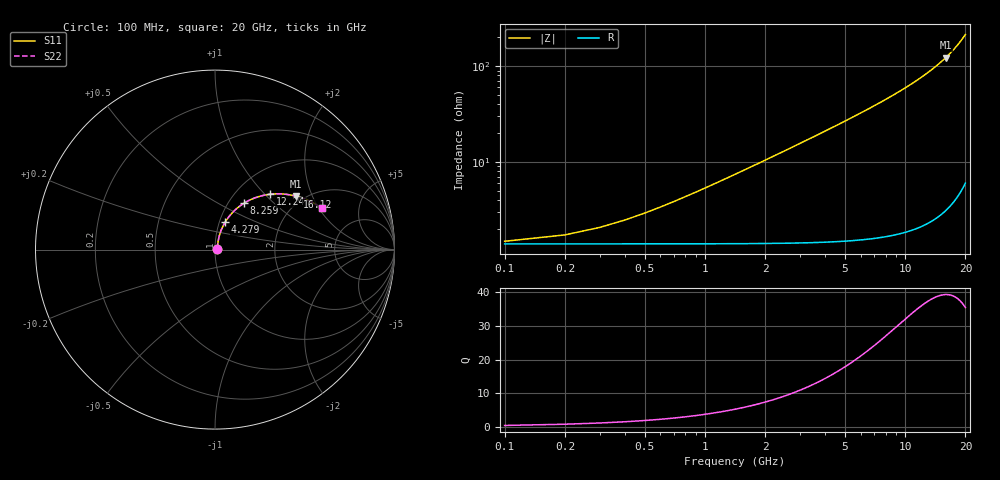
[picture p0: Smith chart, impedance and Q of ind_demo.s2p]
! Created with skrf 1.12.0 (http://scikit-rf.org).
# GHz S RI R 50.0
!freq ReS11 ImS11 ReS21 ImS21 ReS12 ImS12 ReS22 ImS22
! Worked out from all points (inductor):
!   201 points, 100 MHz to 20 GHz, reference 50 ohm
!   read as 1/Y11, port 2 shorted: L = 822 pH near 896 MHz
!   highest Q = 39.4 at 15.92 GHz (marker M1), where L = 1.22 nH
!   S11 on the Smith chart (normalised r, x): 100 MHz: 1.03, +0.01; 4.279 GHz: 1.07, +0.34; 8.259 GHz: 1.18, +0.68; 12.24 GHz: 1.41, +1.08; 16.12 GHz: 1.85, +1.56; 20 GHz: 2.75, +2.13
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0.1  0.0138 0.00375  0.9862 -0.00627  0.9862 -0.00627  0.0138 0.00375
0.1995  0.0139 0.00749  0.9861 -0.0125  0.9861 -0.0125  0.0139 0.00749
0.5975  0.0147 0.0224  0.9852 -0.0374  0.9852 -0.0374  0.0147 0.0224
0.7965  0.0153 0.0299  0.9845 -0.0499  0.9845 -0.0499  0.0153 0.0299
1.095  0.0167 0.041  0.9829 -0.0685  0.9829 -0.0685  0.0167 0.041
1.3935  0.0185 0.0521  0.9809 -0.0871  0.9809 -0.0871  0.0185 0.0521
1.7915  0.0215 0.0667  0.9775 -0.1117  0.9775 -0.1117  0.0215 0.0667
2.289  0.0263 0.0848  0.972 -0.1423  0.972 -0.1423  0.0263 0.0848
2.886  0.0336 0.106  0.9638 -0.1785  0.9638 -0.1785  0.0336 0.106
3.483  0.0425 0.1267  0.9537 -0.2141  0.9537 -0.2141  0.0425 0.1267
4.279  0.0567 0.1532  0.9375 -0.2604  0.9375 -0.2604  0.0567 0.1532
5.473  0.0829 0.1901  0.9077 -0.327  0.9077 -0.327  0.0829 0.1901
6.7665  0.1172 0.2255  0.8684 -0.3944  0.8684 -0.3944  0.1172 0.2255
8.259  0.1632 0.2595  0.8154 -0.4649  0.8154 -0.4649  0.1632 0.2595
10.05  0.2256 0.2894  0.743 -0.538  0.743 -0.538  0.2256 0.2894
12.239  0.3087 0.3085  0.6451 -0.609  0.6451 -0.609  0.3087 0.3085
13.433  0.3554 0.3107  0.5891 -0.639  0.5891 -0.639  0.3554 0.3107
15.9205  0.4523 0.2974  0.4707 -0.6822  0.4707 -0.6822  0.4523 0.2974
16.1195  0.4599 0.2954  0.4613 -0.6845  0.4613 -0.6845  0.4599 0.2954
16.7165  0.4824 0.2884  0.4331 -0.6908  0.4331 -0.6908  0.4824 0.2884
18.3085  0.5402 0.2639  0.3593 -0.7009  0.3593 -0.7009  0.5402 0.2639
20  0.597 0.2294  0.2841 -0.7022  0.2841 -0.7022  0.597 0.2294
